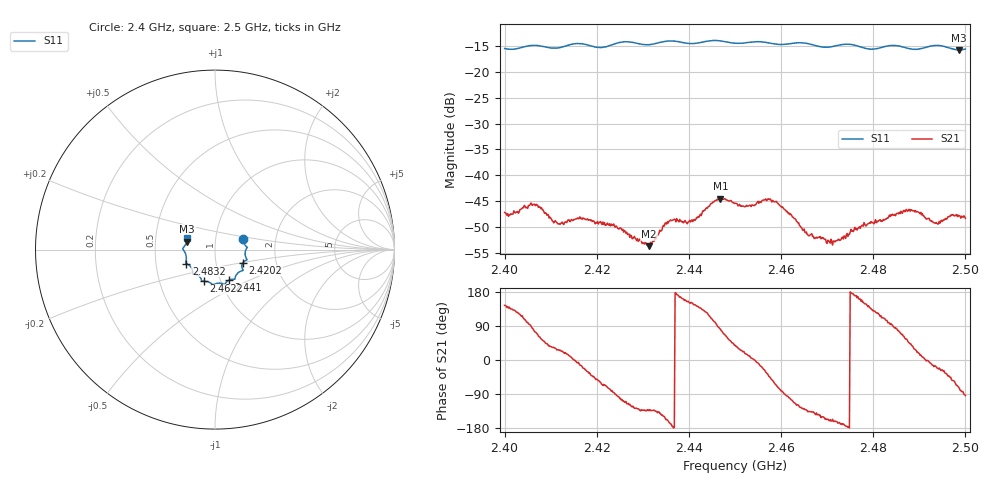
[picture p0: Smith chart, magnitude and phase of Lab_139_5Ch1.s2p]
# Hz S RI R 50
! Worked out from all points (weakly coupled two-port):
!   601 points, 2.4 GHz to 2.5 GHz, reference 50 ohm
!   highest |S21| = -44.50 dB at 2.4468 GHz (marker M1); lowest = -53.7 dB at 2.4313 GHz (marker M2)
!   lowest |S11| = -15.8 dB at 2.4987 GHz (marker M3), VSWR 1.39, Z = 36.4 + j3.36 ohm
!   |S11| at or under -10 dB: start of sweep to end of sweep
!   S12 and S22 are empty: the file has one direction only
!   S11 on the Smith chart (normalised r, x): 2.4 GHz: 1.36, +0.17; 2.4202 GHz: 1.35, -0.20; 2.441 GHz: 1.09, -0.39; 2.4622 GHz: 0.83, -0.30; 2.4832 GHz: 0.72, -0.12; 2.5 GHz: 0.73, +0.09
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2.4e9  0.1563 0.0599  -0.00354 0.00256  0 0  0 0
2.406e9  0.1792 0.0135  0.000546 0.00509  0 0  0 0
2.411667e9  0.1679 -0.0268  0.00303 0.00152  0 0  0 0
2.416667e9  0.1773 -0.0582  0.00372 -0.00101  0 0  0 0
2.420167e9  0.1558 -0.0725  0.00221 -0.00281  0 0  0 0
2.426e9  0.1569 -0.1154  -0.00107 -0.00273  0 0  0 0
2.431333e9  0.1227 -0.1352  -0.00143 -0.00149  0 0  0 0
2.433333e9  0.1133 -0.1524  -0.00196 -0.00183  0 0  0 0
2.436167e9  0.1101 -0.165  -0.00359 -0.00067  0 0  0 0
2.441e9  0.0766 -0.1708  -0.00306 0.00208  0 0  0 0
2.446833e9  0.0492 -0.1925  0.000875 0.00589  0 0  0 0
2.45e9  0.0262 -0.1868  0.00416 0.0034  0 0  0 0
2.457667e9  -0.0231 -0.1874  0.00401 -0.00433  0 0  0 0
2.462167e9  -0.0631 -0.1767  -0.00106 -0.00404  0 0  0 0
2.466667e9  -0.0766 -0.1663  -0.00201 -0.00185  0 0  0 0
2.471667e9  -0.1121 -0.1373  -0.00214 -0.000746  0 0  0 0
2.483167e9  -0.1597 -0.078  -0.000559 0.0038  0 0  0 0
2.483333e9  -0.1604 -0.0777  -0.000594 0.0039  0 0  0 0
2.488167e9  -0.1598 -0.0451  0.00345 0.00313  0 0  0 0
2.493667e9  -0.1795 0.00542  0.00333 -0.00108  0 0  0 0
2.498667e9  -0.1561 0.0449  0.0011 -0.00393  0 0  0 0
2.5e9  -0.1535 0.0632  -0.000258 -0.00382  0 0  0 0
